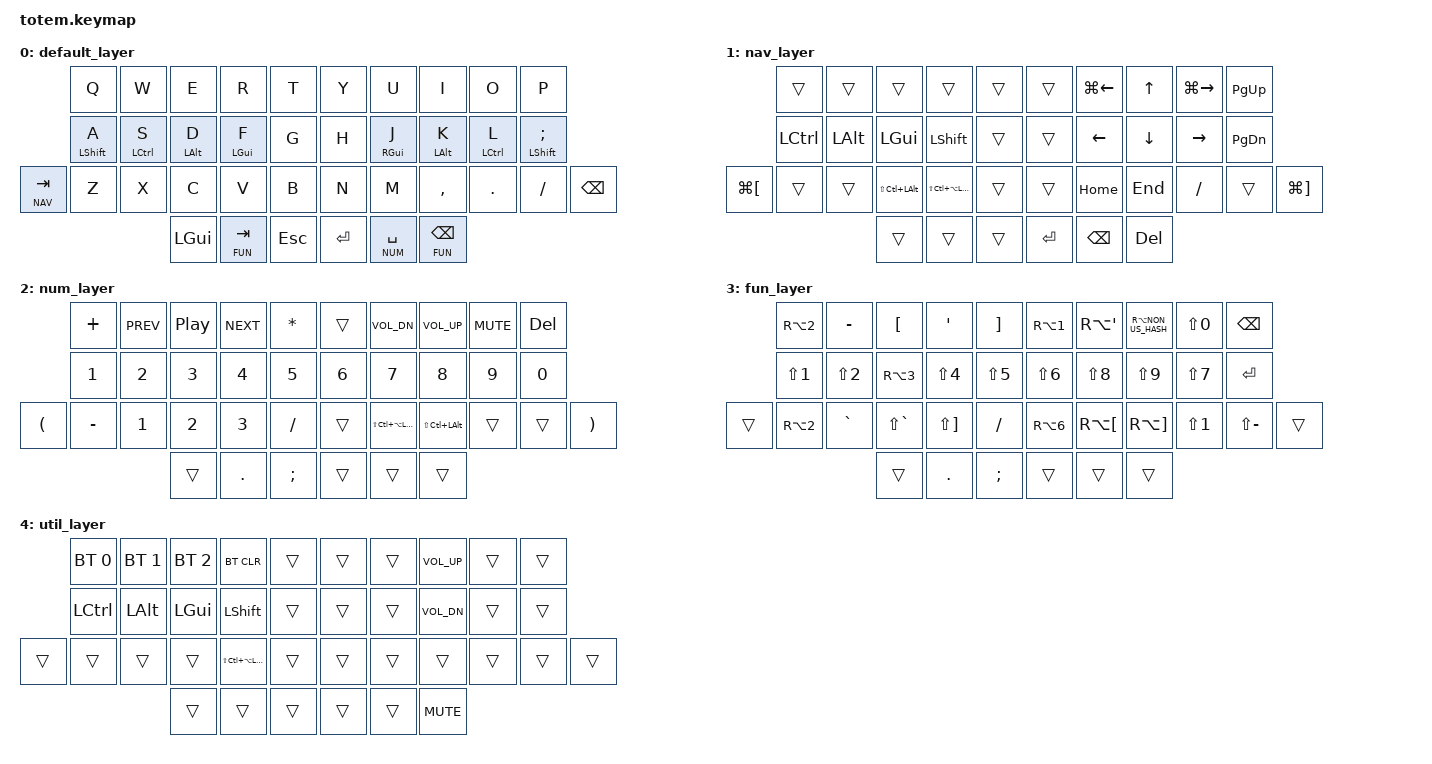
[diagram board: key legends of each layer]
// Copyright (c) 2022 The ZMK Contributors
// SPDX-License-Identifier: MIT

#include "../zmk-nodefree-config/helper.h"
#include "../zmk-nodefree-config/keypos_def/keypos_38keys.h"
#include <behaviors.dtsi>
#include <dt-bindings/zmk/keys.h>
#include <dt-bindings/zmk/bt.h>

#define XXX &none
#define TODO ___
#define ___ &trans

#define BASE 0
#define NAV 1
#define NUM 2
#define FUN 3 // TODO: Rename to SYM or similar
#define UTIL 4 // TODO: Use for function keys?

#include "combos.dtsi"

// Spanish keycode aliases
#define ES_MORD &kp GRAVE  // º
#define ES_1    &kp N1    // 1
#define ES_2    &kp N2    // 2
#define ES_3    &kp N3    // 3
#define ES_4    &kp N4    // 4
#define ES_5    &kp N5    // 5
#define ES_6    &kp N6    // 6
#define ES_7    &kp N7    // 7
#define ES_8    &kp N8    // 8
#define ES_9    &kp N9    // 9
#define ES_0    &kp N0    // 0
#define ES_QUOT &kp MINUS // '
#define ES_IEXL &kp EQUAL // ¡
#define ES_Q    &kp Q    // Q
#define ES_W    &kp W    // W
#define ES_E    &kp E    // E
#define ES_R    &kp R    // R
#define ES_T    &kp T    // T
#define ES_Y    &kp Y    // Y
#define ES_U    &kp U    // U
#define ES_I    &kp I    // I
#define ES_O    &kp O    // O
#define ES_P    &kp P    // P
#define ES_GRV  &kp LEFT_BRACKET // ` (dead)
#define ES_PLUS &kp RIGHT_BRACKET // +
#define ES_A    &kp A    // A
#define ES_S    &kp S    // S
#define ES_D    &kp D    // D
#define ES_F    &kp F    // F
#define ES_G    &kp G    // G
#define ES_H    &kp H    // H
#define ES_J    &kp J    // J
#define ES_K    &kp K    // K
#define ES_L    &kp L    // L
#define ES_NTIL &kp SEMICOLON // Ñ
#define ES_ACUT &kp SQT // ´ (dead)  ?????????
#define ES_CCED &kp NON_US_HASH // Ç
#define ES_LABK &kp BACKSLASH // <
#define ES_Z    &kp Z    // Z
#define ES_X    &kp X    // X
#define ES_C    &kp C    // C
#define ES_V    &kp V    // V
#define ES_B    &kp B    // B
#define ES_N    &kp N    // N
#define ES_M    &kp M    // M
#define ES_COMM &kp COMMA // ,
#define ES_DOT  &kp PERIOD  // .
#define ES_MINS &kp SLASH // - 

#define ES_FORD &kp LS(GRAVE) // ª
#define ES_EXLM &kp LS(N1)    // !
#define ES_DQUO &kp LS(N2)    // "
#define ES_BULT &kp LS(N3)    // ·
#define ES_DLR  &kp LS(N4)    // $
#define ES_PERC &kp LS(N5)    // %
#define ES_AMPR &kp LS(N6)    // &
#define ES_SLSH &kp LS(N7)    // /
#define ES_LPRN &kp LS(N8)    // (
#define ES_RPRN &kp LS(N9)    // )
#define ES_EQL  &kp LS(N0)    // =
#define ES_QUES &kp LS(MINUS) // ?
#define ES_IQUE &kp LS(EQUAL) // ¿
#define ES_CIRC &kp LS(LEFT_BRACKET)  // ^ (dead)
#define ES_ASTR &kp LS(RIGHT_BRACKET) // *
#define ES_DIAE &kp LS(SQT) // ¨ (dead)   ?????????????????????
#define ES_RABK &kp LS(BACKSLASH) // >
#define ES_SCLN &kp LS(COMMA) // ;
#define ES_COLN &kp LS(PERIOD)  // :
#define ES_UNDS &kp LS(SLASH) // _
#define ES_BSLS &kp RA(GRAVE) // (backslash)
#define ES_PIPE &kp RA(N1)    // |
#define ES_AT   &kp RA(N2)    // @
#define ES_HASH &kp RA(N3)    // #
#define ES_TILD &kp RA(N4)    // ~
#define ES_EURO &kp RA(N5)    // €
#define ES_NOT  &kp RA(N6)    // ¬
#define ES_LBRC &kp RA(LEFT_BRACKET)  // [
#define ES_RBRC &kp RA(RIGHT_BRACKET) // ]
#define ES_LCBR &kp RA(SQT) // {   ??????????????????
#define ES_RCBR &kp RA(NON_US_HASH) // }

// navigation bindings for back/forward and prev tab/next tab
#define BACK &kp LG(LBKT)
#define FWD &kp LG(RBKT)

// hyper and meh keys
#define HYP LS(LC(LA(LGUI)))
#define MEH LS(LC(LALT))

/* ------------------------ general config ----------------------- */

#define QUICK_TAP_MS 175

// smart-layer config
&caps_word {  
    // /delete-property/ ignore-modifiers; // mods deactivate, requires PR #1451
    /delete-property/ ignore-numbers;
    continue-list = <BACKSPACE ENTER DELETE UNDERSCORE MINUS>;
};

// key-repeat config
&key_repeat {
    usage-pages = <HID_USAGE_KEY HID_USAGE_CONSUMER>; // repeat all keys
};

// sticky key aka 'one-shot mods'
&sk {
    release-after-ms = <2000>;
    quick-release;
};

// default layer-tap config
&lt {  
    flavor = "balanced";
    tapping-term-ms = <200>;
    quick-tap-ms = <QUICK_TAP_MS>;
};

#define KEYS_L LT0 LT1 LT2 LT3 LT4 LM0 LM1 LM2 LM3 LM4 LB0 LB1 LB2 LB3 LB4  // left hand
#define KEYS_R RT0 RT1 RT2 RT3 RT4 RM0 RM1 RM2 RM3 RM4 RB0 RB1 RB2 RB3 RB4  // right hand
#define THUMBS LH2 LH1 LH0 RH0 RH1 RH2                                      // thumbs

#define MAKE_HRM(NAME, HOLD, TAP, TRIGGER_POS) \
    ZMK_BEHAVIOR(NAME, hold_tap, \
        flavor = "balanced"; \
        tapping-term-ms = <280>; \
        quick-tap-ms = <QUICK_TAP_MS>; \
        require-prior-idle-ms = <150>; \
        bindings = <HOLD>, <TAP>; \
        hold-trigger-key-positions = <TRIGGER_POS>; \
        hold-trigger-on-release; \
    )
MAKE_HRM(hml, &kp, &kp, KEYS_R THUMBS)  // left-hand HRMs
MAKE_HRM(hmr, &kp, &kp, KEYS_L THUMBS)  // right-hand HRMs

// special HRMs for the right meh key, as it involves a modmorph
MAKE_HRM(hmr_meh, &kp, &comma_morph, KEYS_L THUMBS)
// MAKE_HRM(hmr_lpar, &kp, &lpar, KEYS_L THUMBS)    // "    "   "   "
// MAKE_HRM(hmr_rpar, &kp, &rpar, KEYS_L THUMBS)    // "    "   "   "

// mod_morph keys
// tap: qmark | shift + tap: excl
ZMK_BEHAVIOR(qexcl, mod_morph,
    bindings = <&kp QMARK>, <&kp EXCL>;
    mods = <(MOD_LSFT|MOD_RSFT)>;
)

// tap: comma | shift + tap: semicolon 
ZMK_BEHAVIOR(comma_morph, mod_morph,
    bindings = <&kp COMMA>, <&kp SEMICOLON>;
    mods = <(MOD_LSFT|MOD_RSFT)>;
)

// tap: dot | shift + tap: colon 
ZMK_BEHAVIOR(dot_morph, mod_morph,
    bindings = <&kp DOT>, <&kp COLON>;
    mods = <(MOD_LSFT|MOD_RSFT)>;
)

/ {
// TODO: Add hyper key as HRM
    keymap {
        compatible = "zmk,keymap";
        default_layer {
            bindings = <
              &kp Q         &kp W         &kp E            &kp R            &kp T              &kp Y         &kp U          &kp I              &kp O         &kp P 
              &hml LSHFT A  &hml LCTRL S  &hml LALT D      &hml LGUI F      &kp G              &kp H         &hmr RGUI J    &hmr LALT K        &hmr LCTRL L  &hmr LSHFT SEMICOLON
 &lt NAV TAB  &kp Z         &kp X         &kp C            &kp V            &kp B              &kp N         &kp M          &kp COMMA          &kp PERIOD    &kp SLASH                   &kp BSPC
                                          &kp LGUI         &lt FUN TAB      &kp ESC            &kp RET       &lt NUM SPACE  &lt FUN BSPC
            >;
        };
        nav_layer { 
            bindings = <
            ___          ___          ___             ___             ___                ___           &kp LG(LEFT)      &kp UP          &kp LG(RIGHT)    &kp PAGE_UP
            &kp LCTRL     &kp LALT     &kp LGUI       &kp LSHFT       ___                ___           &kp LEFT          &kp DOWN        &kp RIGHT        &kp PAGE_DOWN
    BACK    ___           ___          &kp MEH         &kp HYP         ___                ___          &kp HOME          &kp END         &kp FSLH         ___             FWD
                                       ___            ___             ___                &kp RET       &kp BSPC          &kp DEL
            >;
        }; 
        num_layer {
            bindings = <
              &kp PLUS     &kp C_PREV &kp C_PP      &kp C_NEXT     &kp STAR       ___           &kp C_VOL_DN  &kp C_VOL_UP  &kp C_MUTE  &kp DEL
              &kp N1       &kp N2     &kp N3        &kp N4         &kp N5         &kp N6        &kp N7        &kp N8        &kp N9      &kp N0 
    &kp LPAR  &kp MINUS    &kp N1     &kp N2        &kp N3         &kp FSLH       ___           &kp HYP       &kp MEH       ___         ___       &kp RPAR
                                 ___           &kp DOT        &kp SEMI       ___           ___           ___
            >;
        };
        fun_layer {
          bindings = <
            ES_AT        ES_QUOT    &kp LBKT      &kp SQT        ES_PLUS        ES_PIPE       ES_LCBR       ES_RCBR       ES_EQL      &kp BSPC
            ES_EXLM      ES_DQUO    ES_HASH       ES_DLR         ES_PERC        ES_AMPR       ES_LPRN       ES_RPRN       ES_SLSH     &kp RET
      ___   ES_AT        &kp GRAVE  &kp LS(GRAVE) ES_ASTR        ES_MINS        ES_NOT        ES_LBRC       ES_RBRC       ES_EXLM     ES_QUES     ___
                                    ___           &kp DOT        &kp SEMI       ___           ___           ___
            >;
        };
        util_layer {
            bindings = <
            &bt BT_SEL 0 &bt BT_SEL 1 &bt BT_SEL 2    &bt BT_CLR      ___                ___           ___               &kp C_VOL_UP    ___           ___
            &kp LCTRL     &kp LALT     &kp LGUI       &kp LSHFT      ___                ___           ___                &kp C_VOL_DN    ___           ___ 
    ___     ___          ___          ___             &kp HYP        ___                ___           ___               ___             ___           ___             ___
                                      ___             ___             ___                ___           ___               &kp C_MUTE
            >;
        };  
    };
};
    
/* --------------------------------- combos --------------------------------- */
/*
   ╭────────────────────┬────────────────────╮     ╭─────────────────────┬─────────────────────╮
   │  0   1   2   3   4 │  5   6   7   8   9 │     │ LT4 LT3 LT2 LT1 LT0 │ RT0 RT1 RT2 RT3 RT4 │
   │ 10  11  12  13  14 │ 15  16  17  18  19 │     │ LM4 LM3 LM2 LM1 LM0 │ RM0 RM1 RM2 RM3 RM4 │
  20 21  22  23  24  25 │ 26  27  28  29  30 31  LB5 LB4 LB3 LB2 LB1 LB0 │ RB0 RB1 RB2 RB3 RB4 RB5
   ╰───────╮ 32  33  34 │ 35  36  37 ╭───────╯     ╰───────╮ LH2 LH1 LH0 │ RH0 RH1 RH2 ╭───────╯
           ╰────────────┴────────────╯                     ╰─────────────┴─────────────╯             */
// use global-quick-tap-ms for combos (requires PR 1387)
